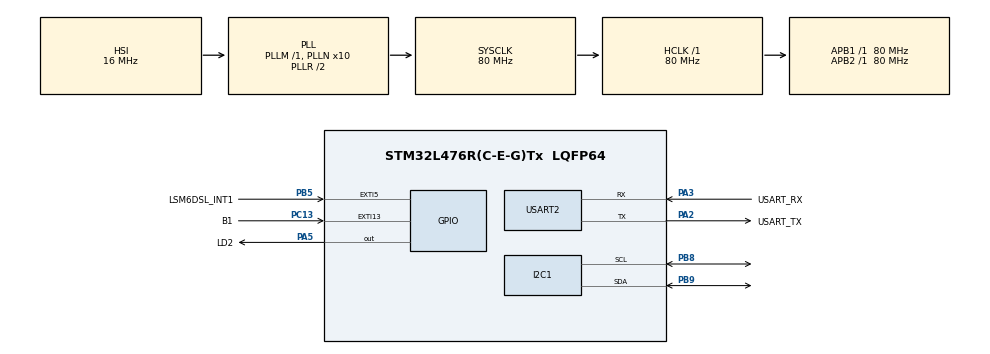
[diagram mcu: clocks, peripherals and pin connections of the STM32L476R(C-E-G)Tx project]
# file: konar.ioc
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Dma.Request0=USART2_TX
Dma.USART2_TX.0.Direction=DMA_MEMORY_TO_PERIPH
Dma.USART2_TX.0.Instance=DMA1_Channel7
Dma.USART2_TX.0.MemDataAlignment=DMA_MDATAALIGN_BYTE
Dma.USART2_TX.0.MemInc=DMA_MINC_ENABLE
Dma.USART2_TX.0.Mode=DMA_NORMAL
Dma.USART2_TX.0.PeriphDataAlignment=DMA_PDATAALIGN_BYTE
Dma.USART2_TX.0.PeriphInc=DMA_PINC_DISABLE
Dma.USART2_TX.0.Priority=DMA_PRIORITY_LOW
I2C1.Timing=0x10909CEC
Mcu.Family=STM32L4
Mcu.Name=STM32L476R(C-E-G)Tx
Mcu.Package=LQFP64
NVIC.DMA1_Channel7_IRQn=true\:0\:0\:false\:false\:true\:false\:true\:true
NVIC.EXTI15_10_IRQn=true\:0\:0\:false\:false\:true\:true\:true\:true
NVIC.EXTI9_5_IRQn=true\:0\:0\:false\:false\:true\:true\:true\:true
NVIC.I2C1_EV_IRQn=true\:0\:0\:false\:false\:true\:true\:true\:true
NVIC.PriorityGroup=NVIC_PRIORITYGROUP_4
NVIC.TIM6_DAC_IRQn=true\:0\:0\:false\:false\:true\:true\:true\:true
NVIC.TIM7_IRQn=true\:0\:0\:false\:false\:true\:true\:true\:true
NVIC.USART2_IRQn=true\:0\:0\:false\:false\:true\:true\:true\:true
PA13\ (JTMS-SWDIO).GPIO_Label=TMS
PA13\ (JTMS-SWDIO).Mode=Serial_Wire
PA13\ (JTMS-SWDIO).Signal=SYS_JTMS-SWDIO
PA14\ (JTCK-SWCLK).GPIO_Label=TCK
PA14\ (JTCK-SWCLK).Mode=Serial_Wire
PA14\ (JTCK-SWCLK).Signal=SYS_JTCK-SWCLK
PA2.GPIO_Label=USART_TX
PA2.GPIO_Mode=GPIO_MODE_AF_PP
PA2.GPIO_PuPd=GPIO_NOPULL
PA2.GPIO_Speed=GPIO_SPEED_FREQ_VERY_HIGH
PA2.Mode=Asynchronous
PA2.Signal=USART2_TX
PA3.GPIO_Label=USART_RX
PA3.GPIO_Mode=GPIO_MODE_AF_PP
PA3.GPIO_PuPd=GPIO_NOPULL
PA3.GPIO_Speed=GPIO_SPEED_FREQ_VERY_HIGH
PA3.Mode=Asynchronous
PA3.Signal=USART2_RX
PA5.GPIO_Label=LD2
PA5.Signal=GPIO_Output
PB3\ (JTDO-TRACESWO).GPIO_Label=SWO
PB3\ (JTDO-TRACESWO).Signal=SYS_JTDO-SWO
PB5.GPIO_Label=LSM6DSL_INT1
PB5.Signal=GPXTI5
PB8.Mode=I2C
PB8.Signal=I2C1_SCL
PB9.Mode=I2C
PB9.Signal=I2C1_SDA
PC13.GPIO_Label=B1
PC13.GPIO_ModeDefaultEXTI=GPIO_MODE_IT_FALLING
PC13.GPIO_PuPd=GPIO_NOPULL
PC13.Signal=GPXTI13
PC14-OSC32_IN\ (PC14).Mode=LSE-External-Oscillator
PC14-OSC32_IN\ (PC14).Signal=RCC_OSC32_IN
PC15-OSC32_OUT\ (PC15).Mode=LSE-External-Oscillator
PC15-OSC32_OUT\ (PC15).Signal=RCC_OSC32_OUT
PH0-OSC_IN\ (PH0).Signal=RCC_OSC_IN
PH1-OSC_OUT\ (PH1).Signal=RCC_OSC_OUT
ProjectManager.HeapSize=0x200
ProjectManager.StackSize=0x400
ProjectManager.TargetToolchain=STM32CubeIDE
RCC.ADCFreq_Value=64000000
RCC.AHBFreq_Value=80000000
RCC.APB1Freq_Value=80000000
RCC.APB1TimFreq_Value=80000000
RCC.APB2Freq_Value=80000000
RCC.APB2TimFreq_Value=80000000
RCC.CortexFreq_Value=80000000
RCC.HCLKFreq_Value=80000000
RCC.HSE_VALUE=8000000
RCC.HSI_VALUE=16000000
RCC.MSI_VALUE=4000000
RCC.PLLN=10
RCC.PLLSourceVirtual=RCC_PLLSOURCE_HSI
RCC.SYSCLKFreq_VALUE=80000000
RCC.SYSCLKSource=RCC_SYSCLKSOURCE_PLLCLK
RCC.USBFreq_Value=64000000
RCC.VCOOutputFreq_Value=160000000
TIM6.Period=3076
TIM6.Prescaler=999
TIM7.Period=5046
TIM7.Prescaler=1440
USART2.VirtualMode-Asynchronous=VM_ASYNC
VP_TIM6_VS_ClockSourceINT.Mode=Enable_Timer
VP_TIM7_VS_ClockSourceINT.Mode=Enable_Timer
board=NUCLEO-L476RG

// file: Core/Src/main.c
/* USER CODE BEGIN Header */
/**
 ******************************************************************************
 * @file           : main.c
 * @brief          : Main program body
 ******************************************************************************
 * @attention
 *
 * Copyright (c) 2023 STMicroelectronics.
 * All rights reserved.
 *
 * This software is licensed under terms that can be found in the LICENSE file
 * in the root directory of this software component.
 * If no LICENSE file comes with this software, it is provided AS-IS.
 *
 ******************************************************************************
 */
/* USER CODE END Header */
#include "main.h"

/* USER CODE BEGIN Includes */
#include <stdio.h>
#include <string.h>
#include "lsm6dsl_register_map.h"
/* USER CODE END Includes */

I2C_HandleTypeDef hi2c1;

TIM_HandleTypeDef htim6;
TIM_HandleTypeDef htim7;

UART_HandleTypeDef huart2;
DMA_HandleTypeDef hdma_usart2_tx;

/* USER CODE BEGIN PV */
const uint8_t lsm6dls_address = 0b11010110;
const uint8_t bttn_prssd_mssg[] = "BTTN PRSSD\r\n";

uint8_t acc_data[6] = { 0 };
int16_t acc_x = 0;
int16_t acc_y = 0;
int16_t acc_z = 0;

uint8_t f_lsm6dsl_int1 = 1; // read always after start
uint8_t f_wirte_to_uart2 = 0;
uint8_t f_i2c1_read_ready = 0;

uint8_t sensor_str[17];
/* USER CODE END PV */

void SystemClock_Config(void);
static void MX_GPIO_Init(void);
static void MX_DMA_Init(void);
static void MX_USART2_UART_Init(void);
static void MX_TIM6_Init(void);
static void MX_TIM7_Init(void);
static void MX_I2C1_Init(void);

int main(void)
{

  /* MCU Configuration--------------------------------------------------------*/

  /* Reset of all peripherals, Initializes the Flash interface and the Systick. */
  HAL_Init();

  /* Configure the system clock */
  SystemClock_Config();

  /* Initialize all configured peripherals */
  MX_GPIO_Init();
  MX_DMA_Init();
  MX_USART2_UART_Init();
  MX_TIM6_Init();
  MX_TIM7_Init();
  MX_I2C1_Init();
  /* USER CODE BEGIN 2 */
	HAL_TIM_Base_Start_IT(&htim6);
	HAL_TIM_Base_Start_IT(&htim7);
  /* USER CODE END 2 */

  /* Infinite loop */
  /* USER CODE BEGIN WHILE */

	{	// CHECK SENSOR ADDRESS
		uint8_t real_chcksm = 0;
		uint8_t exp_chcksm = 0b01101010;	// WHO_AM_I value
		HAL_I2C_Mem_Read(&hi2c1, lsm6dls_address, LSM6DSL_WHO_AM_I, 1,
				&real_chcksm, 1, HAL_MAX_DELAY);

		if (real_chcksm == exp_chcksm) {
			HAL_GPIO_WritePin(LD2_GPIO_Port, LD2_Pin, GPIO_PIN_SET);
		}
	}
	{	// RESET SENSOR
		uint8_t reset = BOOT | SW_RESET;
		HAL_I2C_Mem_Write(&hi2c1, lsm6dls_address, LSM6DSL_CTRL3_C, 1, &reset,
				1, HAL_MAX_DELAY);
	}
	HAL_Delay(1);	// without delay sensor don't update values
	{	// SET XL OUTPUT RATE AND SCALE
		uint8_t output_rate_and_scale = F416H | G4;
		HAL_I2C_Mem_Write(&hi2c1, lsm6dls_address, LSM6DSL_CTRL1_XL, 1,
				&output_rate_and_scale, 1,
				HAL_MAX_DELAY);
	}
	{	// CONFIGURE INT1
		uint8_t int1_settings = INT1_DRDY_XL;
		HAL_I2C_Mem_Write(&hi2c1, lsm6dls_address, LSM6DSL_INT1_CTRL, 1,
				&int1_settings, 1,
				HAL_MAX_DELAY);
	}
	/*
	 * its hard to tell if DMA or IT is better for I2C
	 * but i will use IT >> "I'd advise against using DMA for I2C"
	 * https://stackoverflow.com/questions/57864713/stm32-how-to-choose-between-dma-or-interrupt-for-peripheral-r-w-in-hal-library
	 */
	while (1) {
		if (f_lsm6dsl_int1) {
			f_lsm6dsl_int1 = 0;
			HAL_I2C_Mem_Read_IT(&hi2c1, lsm6dls_address, LSM6DSL_OUTX_L_XL, 1,
					acc_data, sizeof(acc_data));

		}
		if (f_wirte_to_uart2) {
			f_wirte_to_uart2 = 0;
			snprintf((char*) sensor_str, sizeof(sensor_str), "%d %d %d\r\n",
					acc_x, acc_y, acc_z);
			HAL_UART_Transmit_DMA(&huart2, sensor_str,
					strlen((char*) sensor_str));
		}
		if (f_i2c1_read_ready) {
			f_i2c1_read_ready = 0;
			acc_x = (int16_t)(acc_data[1] << 8 | acc_data[0]) * 1000
					/ (INT16_MAX / 4 + 1);// hard coded to 0.000g format for G4
			acc_y = (int16_t)(acc_data[3] << 8 | acc_data[2]) * 1000
					/ (INT16_MAX / 4 + 1);// in order to change scaling change 4 to other max value of G
			acc_z = (int16_t)(acc_data[5] << 8 | acc_data[4]) * 1000
					/ (INT16_MAX / 4 + 1);
		}
    /* USER CODE END WHILE */

	}
}

void SystemClock_Config(void)
{
  RCC_OscInitTypeDef RCC_OscInitStruct = {0};
  RCC_ClkInitTypeDef RCC_ClkInitStruct = {0};

  /** Configure the main internal regulator output voltage
  */
  if (HAL_PWREx_ControlVoltageScaling(PWR_REGULATOR_VOLTAGE_SCALE1) != HAL_OK)
  {
    Error_Handler();
  }

  /** Initializes the RCC Oscillators according to the specified parameters
  * in the RCC_OscInitTypeDef structure.
  */
  RCC_OscInitStruct.OscillatorType = RCC_OSCILLATORTYPE_HSI;
  RCC_OscInitStruct.HSIState = RCC_HSI_ON;
  RCC_OscInitStruct.HSICalibrationValue = RCC_HSICALIBRATION_DEFAULT;
  RCC_OscInitStruct.PLL.PLLState = RCC_PLL_ON;
  RCC_OscInitStruct.PLL.PLLSource = RCC_PLLSOURCE_HSI;
  RCC_OscInitStruct.PLL.PLLM = 1;
  RCC_OscInitStruct.PLL.PLLN = 10;
  RCC_OscInitStruct.PLL.PLLP = RCC_PLLP_DIV7;
  RCC_OscInitStruct.PLL.PLLQ = RCC_PLLQ_DIV2;
  RCC_OscInitStruct.PLL.PLLR = RCC_PLLR_DIV2;
  if (HAL_RCC_OscConfig(&RCC_OscInitStruct) != HAL_OK)
  {
    Error_Handler();
  }

  /** Initializes the CPU, AHB and APB buses clocks
  */
  RCC_ClkInitStruct.ClockType = RCC_CLOCKTYPE_HCLK|RCC_CLOCKTYPE_SYSCLK
                              |RCC_CLOCKTYPE_PCLK1|RCC_CLOCKTYPE_PCLK2;
  RCC_ClkInitStruct.SYSCLKSource = RCC_SYSCLKSOURCE_PLLCLK;
  RCC_ClkInitStruct.AHBCLKDivider = RCC_SYSCLK_DIV1;
  RCC_ClkInitStruct.APB1CLKDivider = RCC_HCLK_DIV1;
  RCC_ClkInitStruct.APB2CLKDivider = RCC_HCLK_DIV1;

  if (HAL_RCC_ClockConfig(&RCC_ClkInitStruct, FLASH_LATENCY_4) != HAL_OK)
  {
    Error_Handler();
  }
}

static void MX_I2C1_Init(void)
{

  hi2c1.Instance = I2C1;
  hi2c1.Init.Timing = 0x10909CEC;
  hi2c1.Init.OwnAddress1 = 0;
  hi2c1.Init.AddressingMode = I2C_ADDRESSINGMODE_7BIT;
  hi2c1.Init.DualAddressMode = I2C_DUALADDRESS_DISABLE;
  hi2c1.Init.OwnAddress2 = 0;
  hi2c1.Init.OwnAddress2Masks = I2C_OA2_NOMASK;
  hi2c1.Init.GeneralCallMode = I2C_GENERALCALL_DISABLE;
  hi2c1.Init.NoStretchMode = I2C_NOSTRETCH_DISABLE;
  if (HAL_I2C_Init(&hi2c1) != HAL_OK)
  {
    Error_Handler();
  }

  /** Configure Analogue filter
  */
  if (HAL_I2CEx_ConfigAnalogFilter(&hi2c1, I2C_ANALOGFILTER_ENABLE) != HAL_OK)
  {
    Error_Handler();
  }

  /** Configure Digital filter
  */
  if (HAL_I2CEx_ConfigDigitalFilter(&hi2c1, 0) != HAL_OK)
  {
    Error_Handler();
  }

}

static void MX_TIM6_Init(void)
{

  TIM_MasterConfigTypeDef sMasterConfig = {0};

  htim6.Instance = TIM6;
  htim6.Init.Prescaler = 999;
  htim6.Init.CounterMode = TIM_COUNTERMODE_UP;
  htim6.Init.Period = 3076;
  htim6.Init.AutoReloadPreload = TIM_AUTORELOAD_PRELOAD_DISABLE;
  if (HAL_TIM_Base_Init(&htim6) != HAL_OK)
  {
    Error_Handler();
  }
  sMasterConfig.MasterOutputTrigger = TIM_TRGO_RESET;
  sMasterConfig.MasterSlaveMode = TIM_MASTERSLAVEMODE_DISABLE;
  if (HAL_TIMEx_MasterConfigSynchronization(&htim6, &sMasterConfig) != HAL_OK)
  {
    Error_Handler();
  }

}

static void MX_TIM7_Init(void)
{

  TIM_MasterConfigTypeDef sMasterConfig = {0};

  htim7.Instance = TIM7;
  htim7.Init.Prescaler = 1440;
  htim7.Init.CounterMode = TIM_COUNTERMODE_UP;
  htim7.Init.Period = 5046;
  htim7.Init.AutoReloadPreload = TIM_AUTORELOAD_PRELOAD_DISABLE;
  if (HAL_TIM_Base_Init(&htim7) != HAL_OK)
  {
    Error_Handler();
  }
  sMasterConfig.MasterOutputTrigger = TIM_TRGO_RESET;
  sMasterConfig.MasterSlaveMode = TIM_MASTERSLAVEMODE_DISABLE;
  if (HAL_TIMEx_MasterConfigSynchronization(&htim7, &sMasterConfig) != HAL_OK)
  {
    Error_Handler();
  }

}

static void MX_USART2_UART_Init(void)
{

  huart2.Instance = USART2;
  huart2.Init.BaudRate = 115200;
  huart2.Init.WordLength = UART_WORDLENGTH_8B;
  huart2.Init.StopBits = UART_STOPBITS_1;
  huart2.Init.Parity = UART_PARITY_NONE;
  huart2.Init.Mode = UART_MODE_TX_RX;
  huart2.Init.HwFlowCtl = UART_HWCONTROL_NONE;
  huart2.Init.OverSampling = UART_OVERSAMPLING_16;
  huart2.Init.OneBitSampling = UART_ONE_BIT_SAMPLE_DISABLE;
  huart2.AdvancedInit.AdvFeatureInit = UART_ADVFEATURE_NO_INIT;
  if (HAL_UART_Init(&huart2) != HAL_OK)
  {
    Error_Handler();
  }

}

static void MX_DMA_Init(void)
{

  /* DMA controller clock enable */
  __HAL_RCC_DMA1_CLK_ENABLE();

  /* DMA interrupt init */
  /* DMA1_Channel7_IRQn interrupt configuration */
  HAL_NVIC_SetPriority(DMA1_Channel7_IRQn, 0, 0);
  HAL_NVIC_EnableIRQ(DMA1_Channel7_IRQn);

}

static void MX_GPIO_Init(void)
{
  GPIO_InitTypeDef GPIO_InitStruct = {0};

  /* GPIO Ports Clock Enable */
  __HAL_RCC_GPIOC_CLK_ENABLE();
  __HAL_RCC_GPIOH_CLK_ENABLE();
  __HAL_RCC_GPIOA_CLK_ENABLE();
  __HAL_RCC_GPIOB_CLK_ENABLE();

  /*Configure GPIO pin Output Level */
  HAL_GPIO_WritePin(LD2_GPIO_Port, LD2_Pin, GPIO_PIN_RESET);

  /*Configure GPIO pin : B1_Pin */
  GPIO_InitStruct.Pin = B1_Pin;
  GPIO_InitStruct.Mode = GPIO_MODE_IT_FALLING;
  GPIO_InitStruct.Pull = GPIO_NOPULL;
  HAL_GPIO_Init(B1_GPIO_Port, &GPIO_InitStruct);

  /*Configure GPIO pin : LD2_Pin */
  GPIO_InitStruct.Pin = LD2_Pin;
  GPIO_InitStruct.Mode = GPIO_MODE_OUTPUT_PP;
  GPIO_InitStruct.Pull = GPIO_NOPULL;
  GPIO_InitStruct.Speed = GPIO_SPEED_FREQ_LOW;
  HAL_GPIO_Init(LD2_GPIO_Port, &GPIO_InitStruct);

  /*Configure GPIO pin : LSM6DSL_INT1_Pin */
  GPIO_InitStruct.Pin = LSM6DSL_INT1_Pin;
  GPIO_InitStruct.Mode = GPIO_MODE_IT_RISING;
  GPIO_InitStruct.Pull = GPIO_NOPULL;
  HAL_GPIO_Init(LSM6DSL_INT1_GPIO_Port, &GPIO_InitStruct);

  /* EXTI interrupt init*/
  HAL_NVIC_SetPriority(EXTI9_5_IRQn, 0, 0);
  HAL_NVIC_EnableIRQ(EXTI9_5_IRQn);

  HAL_NVIC_SetPriority(EXTI15_10_IRQn, 0, 0);
  HAL_NVIC_EnableIRQ(EXTI15_10_IRQn);

}

/* USER CODE BEGIN 4 */
void HAL_TIM_PeriodElapsedCallback(TIM_HandleTypeDef *htim) {
	if (htim == &htim6) {
		// every 13Hz
		HAL_GPIO_TogglePin(LD2_GPIO_Port, LD2_Pin);
	}
	if (htim == &htim7) {
		// every 11Hz
		f_wirte_to_uart2 = 1;
	}
}
void HAL_GPIO_EXTI_Callback(uint16_t GPIO_Pin) {
	if (GPIO_Pin == B1_Pin) {
		HAL_UART_Transmit_DMA(&huart2, bttn_prssd_mssg,
				strlen((char*) bttn_prssd_mssg));
	}
	if (GPIO_Pin == LSM6DSL_INT1_Pin) {
		f_lsm6dsl_int1 = 1;
	}
}
void HAL_I2C_MemRxCpltCallback(I2C_HandleTypeDef *hi2c) {
	if (hi2c == &hi2c1) {
		f_i2c1_read_ready = 1;
	}
}
/* USER CODE END 4 */

void Error_Handler(void)
{
	__disable_irq();
	while (1) {
	}
}
